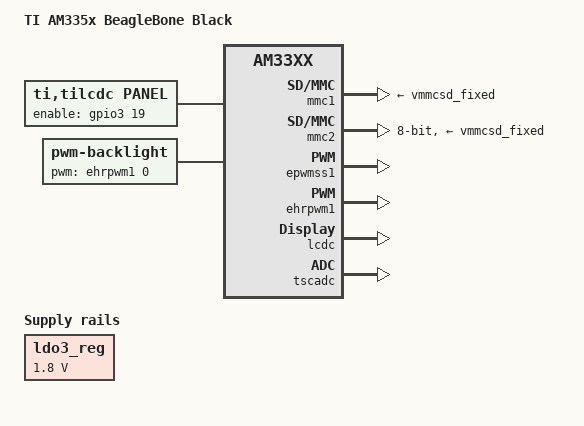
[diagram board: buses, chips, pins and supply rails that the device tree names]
/*
 * Copyright (C) 2020 Jumpnow Technologies, LLC
 *
 * This program is free software; you can redistribute it and/or modify
 * it under the terms of the GNU General Public License version 2 as
 * published by the Free Software Foundation.
 */

/dts-v1/;

#include "am33xx.dtsi"
#include "am335x-bone-common.dtsi"
#include "bbb-i2c1.dtsi"
#include "bbb-i2c2.dtsi"
#include "bbb-uart4.dtsi"

/* The 4dcape DOWN button gpio3[16] conflicts with SPI1.d0
   You can choose either the keypad.dtsi or the spi1-spidev dtsi,
   but not both unless you comment out the 'DOWN' key defs in
   bbb-4dcape70t-keypad.dtsi.
*/
#include "bbb-4dcape43t-keypad.dtsi"

/ {
	model = "TI AM335x BeagleBone Black";
	compatible = "ti,am335x-bone-black", "ti,am33xx";
};

&ldo3_reg {
	regulator-min-microvolt = <1800000>;
	regulator-max-microvolt = <1800000>;
	regulator-always-on;
};

&mmc1 {
	vmmc-supply = <&vmmcsd_fixed>;
};

&mmc2 {
	vmmc-supply = <&vmmcsd_fixed>;
	pinctrl-names = "default";
	pinctrl-0 = <&emmc_pins>;
	bus-width = <8>;
	status = "okay";
};

&am33xx_pinmux {
	lcd_pins: pinmux-lcd-pins {
		pinctrl-single,pins = <
			AM33XX_IOPAD(0x8a0, PIN_OUTPUT | MUX_MODE0)            /* lcd_data0 */
			AM33XX_IOPAD(0x8a4, PIN_OUTPUT | MUX_MODE0)            /* lcd_data1 */
			AM33XX_IOPAD(0x8a8, PIN_OUTPUT | MUX_MODE0)            /* lcd_data2 */
			AM33XX_IOPAD(0x8ac, PIN_OUTPUT | MUX_MODE0)            /* lcd_data3 */
			AM33XX_IOPAD(0x8b0, PIN_OUTPUT | MUX_MODE0)            /* lcd_data4 */
			AM33XX_IOPAD(0x8b4, PIN_OUTPUT | MUX_MODE0)            /* lcd_data5 */
			AM33XX_IOPAD(0x8b8, PIN_OUTPUT | MUX_MODE0)            /* lcd_data6 */
			AM33XX_IOPAD(0x8bc, PIN_OUTPUT | MUX_MODE0)            /* lcd_data7 */
			AM33XX_IOPAD(0x8c0, PIN_OUTPUT | MUX_MODE0)            /* lcd_data8 */
			AM33XX_IOPAD(0x8c4, PIN_OUTPUT | MUX_MODE0)            /* lcd_data9 */
			AM33XX_IOPAD(0x8c8, PIN_OUTPUT | MUX_MODE0)            /* lcd_data10 */
			AM33XX_IOPAD(0x8cc, PIN_OUTPUT | MUX_MODE0)            /* lcd_data11 */
			AM33XX_IOPAD(0x8d0, PIN_OUTPUT | MUX_MODE0)            /* lcd_data12 */
			AM33XX_IOPAD(0x8d4, PIN_OUTPUT | MUX_MODE0)            /* lcd_data13 */
			AM33XX_IOPAD(0x8d8, PIN_OUTPUT | MUX_MODE0)            /* lcd_data14 */
			AM33XX_IOPAD(0x8dc, PIN_OUTPUT | MUX_MODE0)            /* lcd_data15 */
			AM33XX_IOPAD(0x8e0, PIN_OUTPUT_PULLDOWN | MUX_MODE0)   /* lcd_vsync */
			AM33XX_IOPAD(0x8e4, PIN_OUTPUT_PULLDOWN | MUX_MODE0)   /* lcd_hsync */
			AM33XX_IOPAD(0x8e8, PIN_OUTPUT_PULLDOWN | MUX_MODE0)   /* lcd_pclk */
			AM33XX_IOPAD(0x8ec, PIN_OUTPUT_PULLDOWN | MUX_MODE0)   /* lcd_ac_bias_en */
			/* LCD enable */
			AM33XX_IOPAD(0x9a4, PIN_OUTPUT_PULLUP | MUX_MODE7)     /* P9.27, gpio3_19 */
		>;
	};

	backlight_pins: pinmux-backlight-pins {
		pinctrl-single,pins = <
			AM33XX_IOPAD(0x848, PIN_OUTPUT_PULLDOWN | MUX_MODE6)   /* P9.14, ehrpwm1A */
		>;
	};
};

&epwmss1 {
	status = "okay";
};

&ehrpwm1 {
	status = "okay";
	pinctrl-names = "default";
	pinctrl-0 = <&backlight_pins>;
};

&lcdc {
	status = "okay";
};

/ {
	lcd0: display {
		status = "okay";
		compatible = "ti,tilcdc,panel";
		label = "lcd";
		pinctrl-names = "default";
		pinctrl-0 = <&lcd_pins>;
		enable-gpios = <&gpio3 19 GPIO_ACTIVE_HIGH>;

		panel-info {
			ac-bias           = <255>;
			ac-bias-intrpt    = <0>;
			dma-burst-sz      = <16>;
			bpp               = <16>;
			fdd               = <0x80>;
			sync-edge         = <0>;
			sync-ctrl         = <1>;
			raster-order      = <0>;
			fifo-th           = <0>;
		};

		display-timings {
			native-mode = <&timing0>;
			timing0: 800x480 {
				clock-frequency = <9200000>;
				hactive = <480>;
				vactive = <272>;
				hfront-porch = <8>;
				hback-porch = <47>;
				hsync-len = <41>;
				vback-porch = <2>;
				vfront-porch = <3>;
				vsync-len = <10>;
				hsync-active = <0>;
				vsync-active = <0>;
				de-active = <1>;
				pixelclk-active = <0>;
			};
		};
	};

	backlight {
		status = "okay";
		compatible = "pwm-backlight";
		pwms = <&ehrpwm1 0 5000000 0>;
		brightness-levels = <0 1 2 3 4 5 6 7 8 9 10>;
		num-interpolated-steps = <10>;
		default-brightness-level = <10>;
	};
};

&tscadc {
	status = "okay";

	tsc {
		ti,wires = <4>;
		ti,x-plate-resistance = <200>;
		ti,coordinate-readouts = <5>;
		ti,wire-config = <0x00 0x11 0x22 0x33>;
		ti,charge-delay = <0x1000>;
	};

	adc {
		ti,adc-channels = <4 5 6 7>;
		ti,chan-step-opendelay = <0x2000 0x2000 0x2000 0x2000>; /* default 0x98, max 0x3ffff */
		ti,chan-step-sampledelay = <0x10 0x10 0x10 0x10>;       /* default 0, max 0xff */
		ti,chan-step-avg = <16 16 16 16>;                       /* default 16, range 0-16 */
	};
};

&rtc {
	system-power-controller;
};

